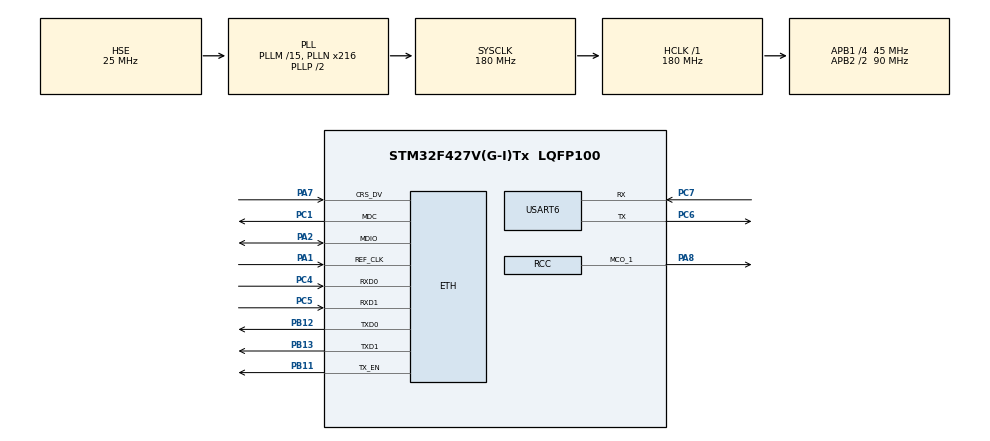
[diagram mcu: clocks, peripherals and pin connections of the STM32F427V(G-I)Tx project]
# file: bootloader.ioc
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ETH.MediaInterface=HAL_ETH_RMII_MODE
ETH.PHY_DUPLEX_STATUS=0x0010
ETH.PHY_ISFR_INT4=0x0010
ETH.PHY_Name_RMII=LAN8742A_PHY_ADDRESS
ETH.PHY_SPEED_STATUS=0x0004
ETH.PHY_SR=0x1F
IWDG.Prescaler=IWDG_PRESCALER_256
LWIP.ARP_QUEUEING=1
LWIP.BSP.number=1
LWIP.CHECKSUM_BY_HARDWARE=1
LWIP.CHECKSUM_CHECK_ICMP=1
LWIP.CHECKSUM_GEN_ICMP=1
LWIP.CHECKSUM_GEN_IP=1
LWIP.CHECKSUM_GEN_TCP=0
LWIP.CHECKSUM_GEN_UDP=0
LWIP.ETHARP_DEBUG=LWIP_DBG_ON
LWIP.GATEWAY_ADDRESS=192.168.000.001
LWIP.IP_ADDRESS=169.254.008.045
LWIP.LWIP_AUTOIP=0
LWIP.LWIP_BROADCAST_PING=1
LWIP.LWIP_DBG_MIN_LEVEL=LWIP_DBG_LEVEL_ALL
LWIP.LWIP_DHCP=0
LWIP.LWIP_MULTICAST_PING=1
LWIP.LWIP_NETIF_REMOVE_CALLBACK=1
LWIP.LWIP_RAM_HEAP_POINTER=0x20028000
LWIP.LWIP_RAW=1
LWIP.NETMASK_ADDRESS=255.255.000.000
LWIP.Version=v2.1.2_Cube
LWIP0.BSP.STBoard=false
LWIP0.BSP.api=BSP_COMPONENT_DRIVER
LWIP0.BSP.component=LAN8742
LWIP0.BSP.i2caddr=0
LWIP0.BSP.instance=LAN8742
LWIP0.BSP.name=Driver_PHY
LWIP0.BSP.semaphore=S_LAN8742
LWIP0.BSP.solution=LAN8742
Mcu.Family=STM32F4
Mcu.Name=STM32F427V(G-I)Tx
Mcu.Package=LQFP100
NVIC.ETH_IRQn=true\:0\:0\:false\:false\:true\:true\:true\:true
NVIC.PriorityGroup=NVIC_PRIORITYGROUP_4
NVIC.TIM6_DAC_IRQn=true\:0\:0\:false\:false\:true\:true\:true\:true
NVIC.USART6_IRQn=true\:0\:0\:false\:false\:true\:true\:true\:true
PA1.Mode=RMII
PA1.Signal=ETH_REF_CLK
PA13.Mode=JTAG_5_pins
PA13.Signal=SYS_JTMS-SWDIO
PA14.Mode=JTAG_5_pins
PA14.Signal=SYS_JTCK-SWCLK
PA15.Mode=JTAG_5_pins
PA15.Signal=SYS_JTDI
PA2.Mode=RMII
PA2.Signal=ETH_MDIO
PA7.Mode=RMII
PA7.Signal=ETH_CRS_DV
PA8.Mode=Clock-out-1
PA8.Signal=RCC_MCO_1
PB11.Mode=RMII
PB11.Signal=ETH_TX_EN
PB12.Mode=RMII
PB12.Signal=ETH_TXD0
PB13.Mode=RMII
PB13.Signal=ETH_TXD1
PB3.Mode=JTAG_5_pins
PB3.Signal=SYS_JTDO-SWO
PB4.Mode=JTAG_5_pins
PB4.Signal=SYS_JTRST
PC1.Mode=RMII
PC1.Signal=ETH_MDC
PC4.Mode=RMII
PC4.Signal=ETH_RXD0
PC5.Mode=RMII
PC5.Signal=ETH_RXD1
PC6.Mode=Asynchronous
PC6.Signal=USART6_TX
PC7.Mode=Asynchronous
PC7.Signal=USART6_RX
PH0/OSC_IN.Mode=HSE-External-Oscillator
PH0/OSC_IN.Signal=RCC_OSC_IN
PH1/OSC_OUT.Mode=HSE-External-Oscillator
PH1/OSC_OUT.Signal=RCC_OSC_OUT
ProjectManager.HeapSize=0x2000
ProjectManager.StackSize=0x4000
ProjectManager.TargetToolchain=STM32CubeIDE
RCC.48MHZClocksFreq_Value=90000000
RCC.AHBFreq_Value=180000000
RCC.APB1CLKDivider=RCC_HCLK_DIV4
RCC.APB1Freq_Value=45000000
RCC.APB1TimFreq_Value=90000000
RCC.APB2CLKDivider=RCC_HCLK_DIV2
RCC.APB2Freq_Value=90000000
RCC.APB2TimFreq_Value=180000000
RCC.CortexFreq_Value=180000000
RCC.HCLKFreq_Value=180000000
RCC.HSE_VALUE=25000000
RCC.HSI_VALUE=16000000
RCC.LSE_VALUE=32768
RCC.PLLM=15
RCC.PLLN=216
RCC.PLLSourceVirtual=RCC_PLLSOURCE_HSE
RCC.RCC_MCO1Source=RCC_MCO1SOURCE_HSE
RCC.SYSCLKFreq_VALUE=180000000
RCC.SYSCLKSource=RCC_SYSCLKSOURCE_PLLCLK
RCC.VCOOutputFreq_Value=360000000
TIM6.Period=10000
TIM6.Prescaler=44999
USART6.VirtualMode=VM_ASYNC
VP_IWDG_VS_IWDG.Mode=IWDG_Activate
VP_LWIP_VS_Enabled.Mode=Enabled
VP_TIM6_VS_ClockSourceINT.Mode=Enable_Timer
board=custom

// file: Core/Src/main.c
/* USER CODE BEGIN Header */
/**
  ******************************************************************************
  * @file           : main.c
  * @brief          : Main program body
  ******************************************************************************
  * @attention
  *
  * <h2><center>&copy; Copyright (c) 2019 STMicroelectronics.
  * All rights reserved.</center></h2>
  *
  * This software component is licensed by ST under Ultimate Liberty license
  * SLA0044, the "License"; You may not use this file except in compliance with
  * the License. You may obtain a copy of the License at:
  *                             www.st.com/SLA0044
  *
  ******************************************************************************
  */
/* USER CODE END Header */
#include "main.h"
#include "iwdg.h"
#include "lwip.h"
#include "tim.h"
#include "usart.h"
#include "gpio.h"

/* USER CODE BEGIN Includes */
#include <stdio.h>
#include <string.h>
#include "uart/uart.h"
#include "flash.h"
#include "hex_parser.h"
#include "uart/xmodem.h"
#include "uart/command.h"
#include "uart/menu.h"
#include "boot_config.h"
#include "eth/lwip_tcp.h"
/* USER CODE END Includes */

/* USER CODE BEGIN PV */
uint32_t flashBufPtr = 0;
static uint8_t uartBuf[128];
static uint8_t uartBufLast = 0;
static uint8_t hasLine = 0;
static Command* commands[5];
static uint8_t blockInputFlag = 0;
/* USER CODE END PV */

void SystemClock_Config(void);
/* USER CODE BEGIN PFP */
static void receiveAndSendChar();
static void sendCommandResult(const char* commandResult);
static void sendMessage(const char* msg);
static char* jumpToUserApp();
static char* getHelpInfo();
static char* downloadFirmware(uint32_t* version);
static char* getAppVersions();
static char* eraseConfigs();
void blockInput();
void unblockInput();
uint8_t isInputBlocked();
/* USER CODE END PFP */

int main(void)
{
  /* USER CODE BEGIN 1 */
	  commands[0] = commandCreate("jump", (CommandAction) jumpToUserApp, NONE);
	  commands[1] = commandCreate("update", (CommandAction) downloadFirmware, INT);
	  commands[2] = commandCreate("version", (CommandAction) getAppVersions, NONE);//TODO
	  commands[3] = commandCreate("help", (CommandAction) getHelpInfo, NONE);
	  commands[4] = commandCreate("clear", (CommandAction) eraseConfigs, NONE);
  /* USER CODE END 1 */

  /* MCU Configuration--------------------------------------------------------*/

  /* Reset of all peripherals, Initializes the Flash interface and the Systick. */
  HAL_Init();

  /* USER CODE BEGIN Init */
  uartInit();
  /* USER CODE END Init */

  /* Configure the system clock */
  SystemClock_Config();

  /* Initialize all configured peripherals */
  MX_GPIO_Init();
  MX_LWIP_Init();
  MX_TIM6_Init();
  MX_USART6_UART_Init();
  MX_IWDG_Init();
  /* USER CODE BEGIN 2 */
  lwip_tcp_init();
  menuInit(commands, 5);
  uartEnableInterruption();

  if (!isBootRequired()) {
	  jumpToUserApp();
  } else {
	  EraseSector(CONFIG_BOOT_SECTOR);
  }
  /* USER CODE END 2 */

  /* Infinite loop */
  /* USER CODE BEGIN WHILE */
  while (1)
  {
	  HAL_IWDG_Refresh(&hiwdg);
    /* USER CODE END WHILE */

    /* USER CODE BEGIN 3 */
	  if (uartHasNext()) {
		  	receiveAndSendChar();
	  }

	  if (hasLine) {
		  	uartBuf[uartBufLast] = '\0';
		  	const char* commandResult = menuExecuteCommand((char*) uartBuf);
		  	sendMessage("\n");
		  	sendCommandResult(commandResult);
	  }

	  MX_LWIP_Process();

  }
  /* USER CODE END 3 */
}

void SystemClock_Config(void)
{
  RCC_OscInitTypeDef RCC_OscInitStruct = {0};
  RCC_ClkInitTypeDef RCC_ClkInitStruct = {0};

  /** Configure the main internal regulator output voltage
  */
  __HAL_RCC_PWR_CLK_ENABLE();
  __HAL_PWR_VOLTAGESCALING_CONFIG(PWR_REGULATOR_VOLTAGE_SCALE1);

  /** Initializes the RCC Oscillators according to the specified parameters
  * in the RCC_OscInitTypeDef structure.
  */
  RCC_OscInitStruct.OscillatorType = RCC_OSCILLATORTYPE_LSI|RCC_OSCILLATORTYPE_HSE;
  RCC_OscInitStruct.HSEState = RCC_HSE_ON;
  RCC_OscInitStruct.LSIState = RCC_LSI_ON;
  RCC_OscInitStruct.PLL.PLLState = RCC_PLL_ON;
  RCC_OscInitStruct.PLL.PLLSource = RCC_PLLSOURCE_HSE;
  RCC_OscInitStruct.PLL.PLLM = 15;
  RCC_OscInitStruct.PLL.PLLN = 216;
  RCC_OscInitStruct.PLL.PLLP = RCC_PLLP_DIV2;
  RCC_OscInitStruct.PLL.PLLQ = 4;
  if (HAL_RCC_OscConfig(&RCC_OscInitStruct) != HAL_OK)
  {
    Error_Handler();
  }

  /** Activate the Over-Drive mode
  */
  if (HAL_PWREx_EnableOverDrive() != HAL_OK)
  {
    Error_Handler();
  }

  /** Initializes the CPU, AHB and APB buses clocks
  */
  RCC_ClkInitStruct.ClockType = RCC_CLOCKTYPE_HCLK|RCC_CLOCKTYPE_SYSCLK
                              |RCC_CLOCKTYPE_PCLK1|RCC_CLOCKTYPE_PCLK2;
  RCC_ClkInitStruct.SYSCLKSource = RCC_SYSCLKSOURCE_PLLCLK;
  RCC_ClkInitStruct.AHBCLKDivider = RCC_SYSCLK_DIV1;
  RCC_ClkInitStruct.APB1CLKDivider = RCC_HCLK_DIV4;
  RCC_ClkInitStruct.APB2CLKDivider = RCC_HCLK_DIV2;

  if (HAL_RCC_ClockConfig(&RCC_ClkInitStruct, FLASH_LATENCY_5) != HAL_OK)
  {
    Error_Handler();
  }
  HAL_RCC_MCOConfig(RCC_MCO1, RCC_MCO1SOURCE_HSE, RCC_MCODIV_1);
}

/* USER CODE BEGIN 4 */
static char* jumpToUserApp() {
	if (isInputBlocked()) return "";
	blockInput();
	validateApplications();
	if (getLatestApplicationAddress() == 0) {
		unblockInput();
		return "No valid application in flash\n";
	} else {
		unblockInput();
		jumpToApp();
		return "Done";
	}
}

static char* getHelpInfo() {
    return "jump: jump to application\n\
update <version>: download firmware and jump to it\n\
version: get current version of application\n\
help: get information about commands\n\
clear: erase configs\n";
}

static char* downloadFirmware(uint32_t* version) {
	if (isInputBlocked()) return "";
	blockInput();
	validateApplications();
	updateConfig();
	setAppVersion(*version);
	sendMessage("Send hex file via XMODEM\n");
	HAL_Delay(100);
	uint8_t xmodemStatus = xmodemReceive();
	if (xmodemStatus == 1) {
		setCorrectUpdateFlag();
		unblockInput();
		return jumpToUserApp();
	} else if (xmodemStatus == 2) {
		unblockInput();
		HAL_FLASH_Unlock();
		HAL_FLASH_Program(FLASH_TYPEPROGRAM_WORD, (uint32_t)0x08104000, 0);
		HAL_FLASH_Lock();
		NVIC_SystemReset();
		return "Error. Choose firmware for another bank.\n";
	} else {
		unblockInput();
		HAL_FLASH_Unlock();
		HAL_FLASH_Program(FLASH_TYPEPROGRAM_WORD, (uint32_t)0x08104000, 0);
		HAL_FLASH_Lock();
		NVIC_SystemReset();
		return "Error. Update aborted.\n";
	};
}

static char* getAppVersions() {
	if (isInputBlocked()) return "";
	blockInput();
	validateApplications();
	unblockInput();
	return getVersions();
}

static char* eraseConfigs() {
	if (isInputBlocked()) return "";
	blockInput();
	EraseSector(CONFIG_1_SECTOR);
	EraseSector(CONFIG_2_SECTOR);
	unblockInput();
	return "Configs erased\n";
}

static void receiveAndSendChar() {
    if (uartReceive(uartBuf + uartBufLast, 1)) {
        uint8_t received = uartBuf[uartBufLast];
        uartBufLast++;
        uartTransmit(&received, 1);

        if (received == '\r')
            hasLine = 1;
    }
}

static void sendCommandResult(const char* commandResult) {
    uartTransmit((uint8_t *) commandResult, strlen(commandResult));
    uartBufLast = 0;
    hasLine = 0;
}

static void sendMessage(const char* msg) {
    uartTransmit((uint8_t *) msg, strlen(msg));
}

void blockInput() {
	blockInputFlag = 1;
}

void unblockInput() {
	blockInputFlag = 0;
}

uint8_t isInputBlocked() {
	return blockInputFlag;
}
/* USER CODE END 4 */

void Error_Handler(void)
{
}
